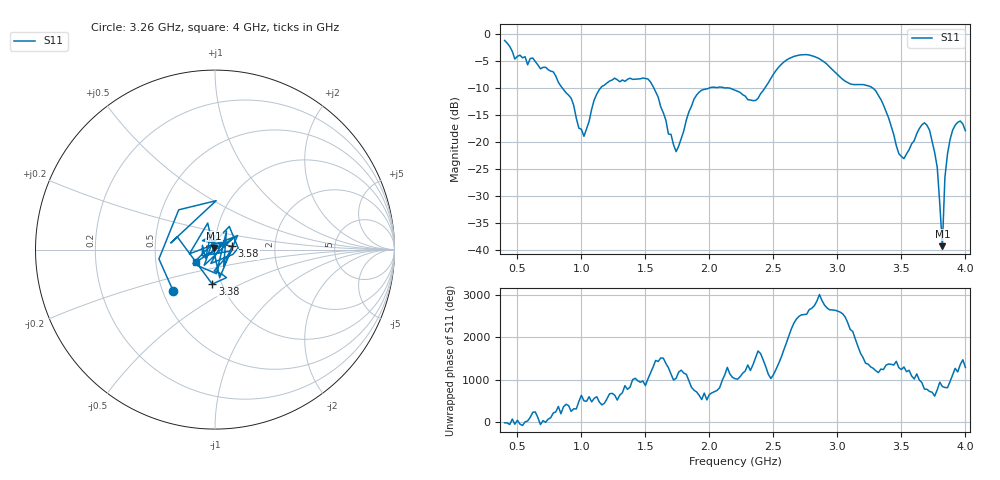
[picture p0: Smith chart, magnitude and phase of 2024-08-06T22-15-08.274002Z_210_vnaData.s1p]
!Created with skrf (http://scikit-rf.org).
# Hz S RI R 50.0
!freq ReS11 ImS11
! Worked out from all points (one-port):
!   181 points, 400 MHz to 4 GHz, reference 50 ohm
!   lowest |S11| = -39.2 dB at 3.82 GHz (marker M1), VSWR 1.02, Z = 49.4 + j0.94 ohm
!   |S11| at or under -10 dB: 853.5 MHz to 1.148 GHz (294.2 MHz wide, 29.4 % of centre); 1.567 GHz to 1.991 GHz (423.9 MHz wide, 23.8 % of centre); 3.281 GHz to end of sweep (the widest 3 of 4)
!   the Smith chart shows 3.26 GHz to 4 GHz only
!   S11 on the Smith chart (normalised r, x): 3.26 GHz: 0.57, -0.29; 3.38 GHz: 0.90, -0.36; 3.58 GHz: 1.21, +0.05; 4 GHz: 0.80, -0.11
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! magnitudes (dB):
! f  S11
! 400 MHz  -1.1
! 480 MHz  -4.6
! 860 MHz  -10.2
! 1.02 GHz  -18.9
! 1.14 GHz  -10.2
! 1.3 GHz  -8.8
! 1.52 GHz  -8.3
! 1.74 GHz  -21.7
! 1.76 GHz  -20.7
! 1.92 GHz  -10.7
! 2.2 GHz  -10.3
! 2.36 GHz  -12.2
! 2.66 GHz  -4.1
! 2.86 GHz  -4.5
! 3.1 GHz  -9.2
! 3.26 GHz  -9.7
! 3.38 GHz  -14.3
! 3.48 GHz  -22.1
! 3.56 GHz  -21.4
! 3.58 GHz  -20.3
! 3.68 GHz  -16.4
! 3.72 GHz  -17.7
! 3.78 GHz  -24.6
! 3.82 GHz  -39.2
! 3.84 GHz  -26.5
! 3.88 GHz  -19.5
! 3.94 GHz  -16.3
! 4 GHz  -17.8
